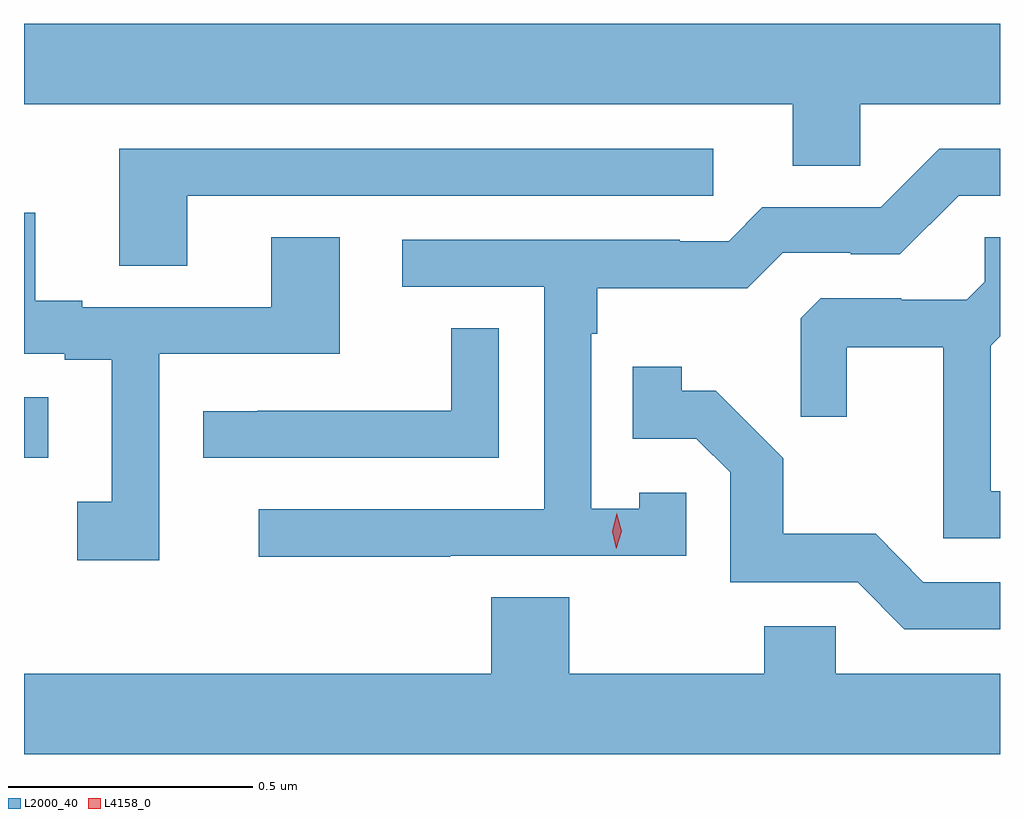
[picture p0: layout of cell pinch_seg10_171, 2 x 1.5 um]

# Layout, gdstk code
import gdstk
lib = gdstk.Library(unit=1e-6, precision=1e-09)
def R(c, l, rs):  # rectangles x0, y0, x1, y1
    for r in rs: c.add(gdstk.rectangle(r[:2], r[2:], *l))
def P(c, l, *ps):  # polygons
    for p in ps: c.add(gdstk.Polygon(p, *l))
L2000_40 = (2000, 40)
L4158_0 = (4158, 0)

pinch_seg10_171 = lib.new_cell('pinch_seg10_171')
R(pinch_seg10_171, L2000_40, [(676.442,1251.639,676.492,1251.763)])
P(pinch_seg10_171, L2000_40, [(678.156,1252.364),(678.442,1252.364),(678.442,1252.528),(676.442,1252.528),(676.442,1252.364),(678.017,1252.364),(678.017,1252.237),(678.156,1252.237)],
  [(677.315,1251.438),(677.799,1251.438),(677.799,1251.567),(677.703,1251.567),(677.703,1251.535),(677.604,1251.535),(677.604,1251.893),(677.617,1251.893),(677.617,1251.986),(677.924,1251.986),(677.997,1252.059),(678.136,1252.059),(678.136,1252.056),(678.237,1252.056),(678.357,1252.176),(678.442,1252.176),(678.442,1252.272),(678.318,1252.272),(678.198,1252.152),(677.955,1252.152),(677.886,1252.083),(677.786,1252.083),(677.786,1252.086),(677.217,1252.086),(677.217,1251.99),(677.508,1251.99),(677.508,1251.534),(676.923,1251.534),(676.923,1251.436),(677.315,1251.436)],
  [(676.777,1252.176),(677.854,1252.176),(677.854,1252.272),(676.637,1252.272),(676.637,1252.033),(676.777,1252.033)],
  [(676.719,1251.852),(677.089,1251.852),(677.089,1252.091),(676.949,1252.091),(676.949,1251.948),(676.561,1251.948),(676.561,1251.961),(676.465,1251.961),(676.465,1252.141),(676.442,1252.141),(676.442,1251.852),(676.526,1251.852),(676.526,1251.84),(676.622,1251.84),(676.622,1251.549),(676.551,1251.549),(676.551,1251.429),(676.719,1251.429)],
  [(678.442,1251.57),(678.423,1251.57),(678.423,1251.869),(678.442,1251.888),(678.442,1252.091),(678.411,1252.091),(678.411,1252),(678.374,1251.963),(678.24,1251.963),(678.24,1251.966),(678.075,1251.966),(678.034,1251.925),(678.034,1251.723),(678.128,1251.723),(678.128,1251.866),(678.326,1251.866),(678.326,1251.474),(678.442,1251.474)],
  [(677.415,1251.905),(677.317,1251.905),(677.317,1251.735),(676.921,1251.735),(676.921,1251.734),(676.809,1251.734),(676.809,1251.639),(677.415,1251.639)],
  [(678.442,1251.384),(678.285,1251.384),(678.187,1251.483),(677.998,1251.483),(677.998,1251.638),(677.86,1251.776),(677.79,1251.776),(677.79,1251.826),(677.689,1251.826),(677.689,1251.678),(677.82,1251.678),(677.889,1251.609),(677.889,1251.384),(678.15,1251.384),(678.246,1251.288),(678.442,1251.288)],
  [(678.442,1251.196),(678.105,1251.196),(678.105,1251.294),(677.959,1251.294),(677.959,1251.196),(677.559,1251.196),(677.559,1251.353),(677.399,1251.353),(677.399,1251.196),(676.442,1251.196),(676.442,1251.032),(678.442,1251.032)])
P(pinch_seg10_171, L4158_0, [(677.656,1251.453),(677.656,1251.453),(677.647,1251.489),(677.657,1251.525),(677.657,1251.525),(677.657,1251.525),(677.667,1251.489),(677.656,1251.453)])

lib.write_gds('pinch_seg10_171.gds')
